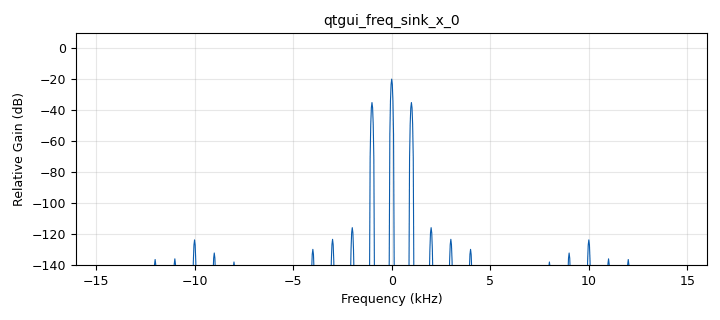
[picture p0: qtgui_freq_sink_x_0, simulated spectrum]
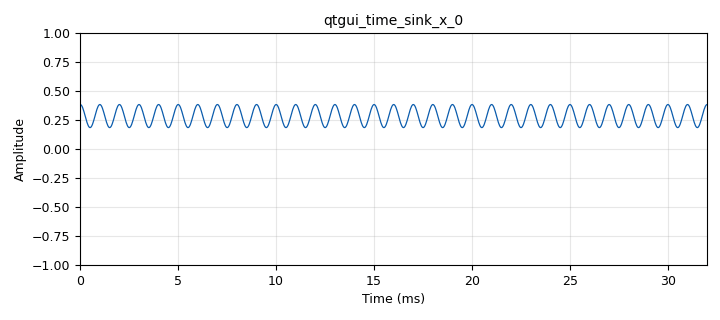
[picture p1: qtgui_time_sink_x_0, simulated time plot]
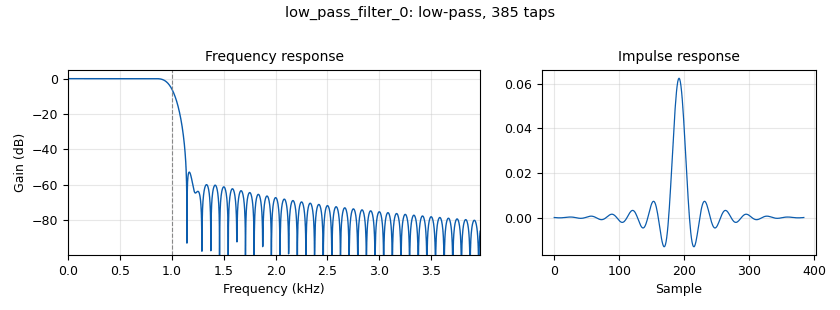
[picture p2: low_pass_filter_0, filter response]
options:
  parameters:
    author: akansha
    generate_options: qt_gui
    generator_class_name: PythonQtGuiGenerator
    generator_module: gnuradio.grc.workflows.python_qt_gui
    id: am_demodulator
    output_language: python
    title: Not titled yet
  states: {}

blocks:
- name: samp_rate
  id: variable
  parameters:
    value: '32000'
  states: {}
- name: analog_sig_source_x_0
  id: analog_sig_source_x
  parameters:
    amp: '0.5'
    freq: '500'
    offset: '0'
    phase: '0'
    samp_rate: samp_rate
    type: float
    waveform: analog.GR_COS_WAVE
  states: {}
- name: analog_sig_source_x_1
  id: analog_sig_source_x
  parameters:
    amp: '1'
    freq: '5000'
    offset: '0'
    phase: '0'
    samp_rate: samp_rate
    type: float
    waveform: analog.GR_COS_WAVE
  states: {}
- name: blocks_complex_to_mag_0
  id: blocks_complex_to_mag
  parameters: {}
  states: {}
- name: blocks_float_to_complex_0
  id: blocks_float_to_complex
  parameters: {}
  states: {}
- name: blocks_multiply_xx_0
  id: blocks_multiply_xx
  parameters:
    type: float
  states: {}
- name: blocks_throttle2_0
  id: blocks_throttle2
  parameters:
    samples_per_second: samp_rate
    type: float
  states: {}
- name: low_pass_filter_0
  id: low_pass_filter
  parameters:
    cutoff_freq: '1000'
    decim: '1'
    gain: '1'
    samp_rate: samp_rate
    type: fir_filter_fff
    width: '200'
    win: window.WIN_HAMMING
  states: {}
- name: qtgui_freq_sink_x_0
  id: qtgui_freq_sink_x
  parameters:
    bw: samp_rate
    fc: '0'
    fftsize: '1024'
    type: float
  states: {}
- name: qtgui_time_sink_x_0
  id: qtgui_time_sink_x
  parameters:
    size: '1024'
    srate: samp_rate
    type: float
  states: {}

connections:
- [analog_sig_source_x_0, '0', blocks_multiply_xx_0, '0']
- [analog_sig_source_x_1, '0', blocks_multiply_xx_0, '1']
- [blocks_complex_to_mag_0, '0', low_pass_filter_0, '0']
- [blocks_float_to_complex_0, '0', blocks_complex_to_mag_0, '0']
- [blocks_multiply_xx_0, '0', blocks_throttle2_0, '0']
- [blocks_throttle2_0, '0', blocks_float_to_complex_0, '0']
- [blocks_throttle2_0, '0', blocks_float_to_complex_0, '1']
- [low_pass_filter_0, '0', qtgui_freq_sink_x_0, '0']
- [low_pass_filter_0, '0', qtgui_time_sink_x_0, '0']

metadata:
  file_format: 1
  grc_version: v3.11.0.0git-1083-ge2c22a2b
